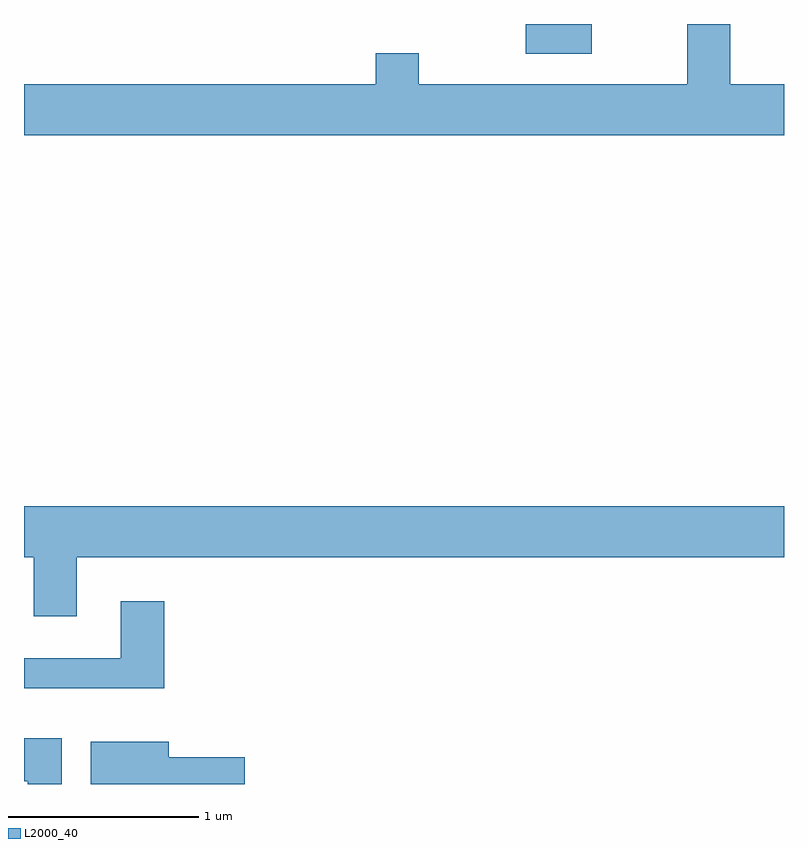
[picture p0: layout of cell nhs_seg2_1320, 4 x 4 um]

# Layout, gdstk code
import gdstk
lib = gdstk.Library(unit=1e-6, precision=1e-09)
def R(c, l, rs):  # rectangles x0, y0, x1, y1
    for r in rs: c.add(gdstk.rectangle(r[:2], r[2:], *l))
def P(c, l, *ps):  # polygons
    for p in ps: c.add(gdstk.Polygon(p, *l))
L2000_40 = (2000, 40)

nhs_seg2_1320 = lib.new_cell('nhs_seg2_1320')
R(nhs_seg2_1320, L2000_40, [(226.253,1037.646,226.599,1037.802)])
P(nhs_seg2_1320, L2000_40, [(227.611,1037.484),(227.329,1037.484),(227.329,1037.802),(227.101,1037.802),(227.101,1037.484),(225.689,1037.484),(225.689,1037.649),(225.461,1037.649),(225.461,1037.484),(223.611,1037.484),(223.611,1037.216),(227.611,1037.216)],
  [(223.889,1034.996),(227.611,1034.996),(227.611,1035.264),(223.611,1035.264),(223.611,1034.996),(223.661,1034.996),(223.661,1034.686),(223.889,1034.686)],
  [(224.349,1034.764),(224.121,1034.764),(224.121,1034.464),(223.611,1034.464),(223.611,1034.306),(224.349,1034.306)],
  [(223.809,1034.044),(223.611,1034.044),(223.611,1033.816),(223.631,1033.816),(223.631,1033.802),(223.809,1033.802)],
  [(224.774,1033.944),(224.374,1033.944),(224.374,1034.024),(223.961,1034.024),(223.961,1033.802),(224.774,1033.802)])

lib.write_gds('nhs_seg2_1320.gds')
